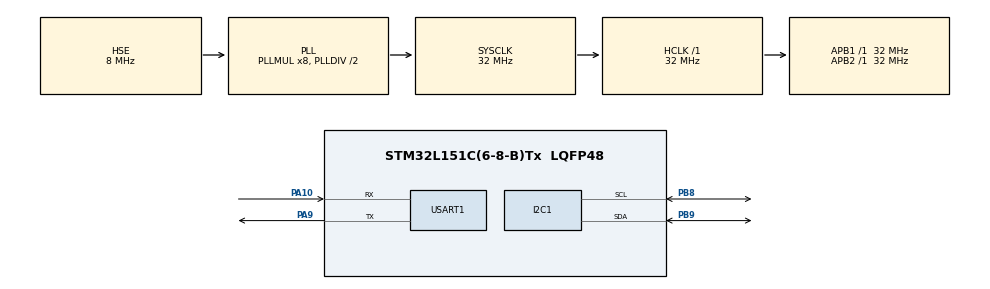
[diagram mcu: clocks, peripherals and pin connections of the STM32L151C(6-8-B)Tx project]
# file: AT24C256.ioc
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Mcu.Family=STM32L1
Mcu.Name=STM32L151C(6-8-B)Tx
Mcu.Package=LQFP48
NVIC.PriorityGroup=NVIC_PRIORITYGROUP_4
NVIC.USART1_IRQn=true\:0\:0\:false\:false\:true\:true
PA10.Mode=Asynchronous
PA10.Signal=USART1_RX
PA13.Mode=Serial_Wire
PA13.Signal=SYS_JTMS-SWDIO
PA14.Mode=Serial_Wire
PA14.Signal=SYS_JTCK-SWCLK
PA9.Mode=Asynchronous
PA9.Signal=USART1_TX
PB8.Mode=I2C
PB8.Signal=I2C1_SCL
PB9.Mode=I2C
PB9.Signal=I2C1_SDA
PC14-OSC32_IN.Mode=LSE-External-Oscillator
PC14-OSC32_IN.Signal=RCC_OSC32_IN
PC15-OSC32_OUT.Mode=LSE-External-Oscillator
PC15-OSC32_OUT.Signal=RCC_OSC32_OUT
PH0-OSC_IN.Mode=HSE-External-Oscillator
PH0-OSC_IN.Signal=RCC_OSC_IN
PH1-OSC_OUT.Mode=HSE-External-Oscillator
PH1-OSC_OUT.Signal=RCC_OSC_OUT
ProjectManager.HeapSize=0x200
ProjectManager.StackSize=0x400
ProjectManager.TargetToolchain=MDK-ARM V5
RCC.48MHZClocksFreq_Value=32000000
RCC.AHBFreq_Value=32000000
RCC.APB1Freq_Value=32000000
RCC.APB1TimFreq_Value=32000000
RCC.APB2Freq_Value=32000000
RCC.APB2TimFreq_Value=32000000
RCC.HCLKFreq_Value=32000000
RCC.HSE_VALUE=8000000
RCC.HSI_VALUE=16000000
RCC.MSI_VALUE=2097000
RCC.PLLMUL=RCC_PLL_MUL8
RCC.PLLSourceVirtual=RCC_PLLSOURCE_HSE
RCC.SYSCLKFreq_VALUE=32000000
RCC.SYSCLKSource=RCC_SYSCLKSOURCE_PLLCLK
RCC.VCOOutputFreq_Value=64000000
USART1.VirtualMode=VM_ASYNC
board=custom

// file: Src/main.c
/**
  ******************************************************************************
  * @file           : main.c
  * @brief          : Main program body
  ******************************************************************************
  ** This notice applies to any and all portions of this file
  * that are not between comment pairs USER CODE BEGIN and
  * USER CODE END. Other portions of this file, whether
  * inserted by the user or by software development tools
  * are owned by their respective copyright owners.
  *
  * COPYRIGHT(c) 2018 STMicroelectronics
  *
  * Redistribution and use in source and binary forms, with or without modification,
  * are permitted provided that the following conditions are met:
  *   1. Redistributions of source code must retain the above copyright notice,
  *      this list of conditions and the following disclaimer.
  *   2. Redistributions in binary form must reproduce the above copyright notice,
  *      this list of conditions and the following disclaimer in the documentation
  *      and/or other materials provided with the distribution.
  *   3. Neither the name of STMicroelectronics nor the names of its contributors
  *      may be used to endorse or promote products derived from this software
  *      without specific prior written permission.
  *
  * THIS SOFTWARE IS PROVIDED BY THE COPYRIGHT HOLDERS AND CONTRIBUTORS "AS IS"
  * AND ANY EXPRESS OR IMPLIED WARRANTIES, INCLUDING, BUT NOT LIMITED TO, THE
  * IMPLIED WARRANTIES OF MERCHANTABILITY AND FITNESS FOR A PARTICULAR PURPOSE ARE
  * DISCLAIMED. IN NO EVENT SHALL THE COPYRIGHT HOLDER OR CONTRIBUTORS BE LIABLE
  * FOR ANY DIRECT, INDIRECT, INCIDENTAL, SPECIAL, EXEMPLARY, OR CONSEQUENTIAL
  * DAMAGES (INCLUDING, BUT NOT LIMITED TO, PROCUREMENT OF SUBSTITUTE GOODS OR
  * SERVICES; LOSS OF USE, DATA, OR PROFITS; OR BUSINESS INTERRUPTION) HOWEVER
  * CAUSED AND ON ANY THEORY OF LIABILITY, WHETHER IN CONTRACT, STRICT LIABILITY,
  * OR TORT (INCLUDING NEGLIGENCE OR OTHERWISE) ARISING IN ANY WAY OUT OF THE USE
  * OF THIS SOFTWARE, EVEN IF ADVISED OF THE POSSIBILITY OF SUCH DAMAGE.
  *
  ******************************************************************************
  */
#include "main.h"
#include "stm32l1xx_hal.h"
#include "i2c.h"
#include "usart.h"
#include "gpio.h"

/* USER CODE BEGIN Includes */
#include "AT24Cxx.h"

/* USER CODE END Includes */

/* USER CODE BEGIN PV */
/* Private variables ---------------------------------------------------------*/
char WriteBuffer[256];
char ReadBuffer[256];
int count = 0,bufferSize = 0;
int readFlag = 1,WriteFlag;
/* USER CODE END PV */

void SystemClock_Config(void);

/* USER CODE BEGIN PFP */
/* Private function prototypes -----------------------------------------------*/

/* USER CODE END PFP */

int main(void)
{

  /* MCU Configuration----------------------------------------------------------*/

  /* Reset of all peripherals, Initializes the Flash interface and the Systick. */
  HAL_Init();

  /* Configure the system clock */
  SystemClock_Config();

  /* Initialize all configured peripherals */
  MX_GPIO_Init();
  MX_USART1_UART_Init();
  MX_I2C1_Init();
  /* USER CODE BEGIN 2 */
	printf("www.makingfun.xyz\r\n");
	printf("AT24Cxx EEPROM TEST\r\n");

  /* USER CODE END 2 */

  /* Infinite loop */
  while (1)
  {

  /* USER CODE BEGIN 3 */
		if(readFlag){
			bufferSize = sprintf(WriteBuffer,"www.makingfun.xyz -> [%d]\r\n",count);
			printf("Send: %s",WriteBuffer);
			AT24CXX_WriteData(&hi2c1,AT24CXX_ADDRESS,(uint8_t *)WriteBuffer,bufferSize);
			WriteFlag = 1;
			readFlag = 0;
			count++;
		}
		if(WriteFlag){
			AT24CXX_ReadData(&hi2c1,AT24CXX_ADDRESS,(uint8_t *)ReadBuffer,bufferSize);
			printf("Recv: %s",ReadBuffer);
			WriteFlag = 0;
			readFlag = 1;
		}
		HAL_Delay(2000);
  }
  /* USER CODE END 3 */

}

void SystemClock_Config(void)
{

  RCC_OscInitTypeDef RCC_OscInitStruct;
  RCC_ClkInitTypeDef RCC_ClkInitStruct;

    /**Configure the main internal regulator output voltage
    */
  __HAL_PWR_VOLTAGESCALING_CONFIG(PWR_REGULATOR_VOLTAGE_SCALE1);

    /**Initializes the CPU, AHB and APB busses clocks
    */
  RCC_OscInitStruct.OscillatorType = RCC_OSCILLATORTYPE_HSE;
  RCC_OscInitStruct.HSEState = RCC_HSE_ON;
  RCC_OscInitStruct.PLL.PLLState = RCC_PLL_ON;
  RCC_OscInitStruct.PLL.PLLSource = RCC_PLLSOURCE_HSE;
  RCC_OscInitStruct.PLL.PLLMUL = RCC_PLL_MUL8;
  RCC_OscInitStruct.PLL.PLLDIV = RCC_PLL_DIV2;
  if (HAL_RCC_OscConfig(&RCC_OscInitStruct) != HAL_OK)
  {
    _Error_Handler(__FILE__, __LINE__);
  }

    /**Initializes the CPU, AHB and APB busses clocks
    */
  RCC_ClkInitStruct.ClockType = RCC_CLOCKTYPE_HCLK|RCC_CLOCKTYPE_SYSCLK
                              |RCC_CLOCKTYPE_PCLK1|RCC_CLOCKTYPE_PCLK2;
  RCC_ClkInitStruct.SYSCLKSource = RCC_SYSCLKSOURCE_PLLCLK;
  RCC_ClkInitStruct.AHBCLKDivider = RCC_SYSCLK_DIV1;
  RCC_ClkInitStruct.APB1CLKDivider = RCC_HCLK_DIV1;
  RCC_ClkInitStruct.APB2CLKDivider = RCC_HCLK_DIV1;

  if (HAL_RCC_ClockConfig(&RCC_ClkInitStruct, FLASH_LATENCY_1) != HAL_OK)
  {
    _Error_Handler(__FILE__, __LINE__);
  }

    /**Configure the Systick interrupt time
    */
  HAL_SYSTICK_Config(HAL_RCC_GetHCLKFreq()/1000);

    /**Configure the Systick
    */
  HAL_SYSTICK_CLKSourceConfig(SYSTICK_CLKSOURCE_HCLK);

  /* SysTick_IRQn interrupt configuration */
  HAL_NVIC_SetPriority(SysTick_IRQn, 0, 0);
}

void _Error_Handler(char *file, int line)
{
  while(1)
  {
  }
}

/************************ (C) COPYRIGHT STMicroelectronics *****END OF FILE****/
